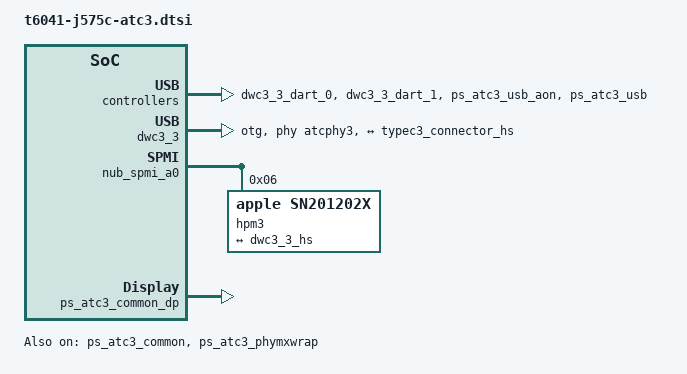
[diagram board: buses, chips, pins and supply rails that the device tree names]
// SPDX-License-Identifier: GPL-2.0+ OR MIT
/*
 * The J575c's fourth back Type-C port (ADT port-location back-left): hpm3,
 * atc-phy3, usb-drd3 and dart-usb3. On the J614c/J616c ATC3 is the HDMI
 * converter's fixed DP PHY (t604x-extdisp.dtsi); here it is a USB-C port
 * like ATC0-2, so it gets the same nodes as atcphy2/dwc3_2 in t604x.dtsi, at
 * the ADT's ATC3 addresses (ATC2's plus 0x8000000) and interrupts.
 */

/ {
	atcphy3: phy@39aa90000 {
		compatible = "apple,t6040-atcphy";
		reg = <0x3 0x9aa90000 0x0 0x4000>,
		      <0x3 0x9a800000 0x0 0x4000>,
		      <0x3 0x9aa84000 0x0 0x4000>,
		      <0x3 0x9b000000 0x0 0x30000>,
		      <0x3 0x9b200000 0x0 0x4000>,
		      <0x3 0x9b140000 0x0 0x4000>,
		      <0x3 0x9b0c0000 0x0 0x10000>,
		      <0x3 0x98000000 0x0 0x8000>,
		      <0x3 0x98020000 0x0 0x4000>,
		      <0x3 0x9b244000 0x0 0x4000>,
		      <0x3 0x9b250000 0x0 0x4000>;
		reg-names = "bank0", "bank1", "pipehandler", "core", "cfg", "cpu",
			    "cpu-data", "axi2af", "axi2af-lioa", "fabric", "common-cfg";
		#phy-cells = <1>;
		#reset-cells = <0>;
		power-domains = <&ps_atc3_common_dp>;
		mboxes = <&atcphy3_mbox>;
		mbox-names = "phy-cpu";
		nonposted-mmio;
		orientation-switch;
		apple,tunable-usb2-host = <0x8 0x7003 0x3>;
	};

	atcphy3_mbox: mailbox@39b148000 {
		compatible = "apple,t6041-asc-mailbox", "apple,asc-mailbox-v4";
		reg = <0x3 0x9b148000 0x0 0x4000>;
		interrupt-parent = <&aic>;
		interrupts = <AIC_IRQ 968 IRQ_TYPE_LEVEL_HIGH>,
			     <AIC_IRQ 969 IRQ_TYPE_LEVEL_HIGH>,
			     <AIC_IRQ 970 IRQ_TYPE_LEVEL_HIGH>,
			     <AIC_IRQ 971 IRQ_TYPE_LEVEL_HIGH>;
		interrupt-names = "send-empty", "send-not-empty",
				  "recv-empty", "recv-not-empty";
		#mbox-cells = <0>;
		power-domains = <&ps_atc3_phymxwrap>;
	};

	dwc3_3_dart_0: iommu@39af00000 {
		compatible = "apple,t6041-dart", "apple,t8110-dart";
		reg = <0x3 0x9af00000 0x0 0xc000>;
		interrupt-parent = <&aic>;
		interrupts = <AIC_IRQ 1719 IRQ_TYPE_LEVEL_HIGH>;
		power-domains = <&ps_atc3_usb>;
		#iommu-cells = <1>;
	};

	dwc3_3_dart_1: iommu@39af80000 {
		compatible = "apple,t6041-dart", "apple,t8110-dart";
		reg = <0x3 0x9af80000 0x0 0xc000>;
		interrupt-parent = <&aic>;
		interrupts = <AIC_IRQ 1719 IRQ_TYPE_LEVEL_HIGH>;
		power-domains = <&ps_atc3_usb>;
		#iommu-cells = <1>;
	};

	dwc3_3: usb@39a280000 {
		compatible = "apple,t6040-dwc3", "apple,t8103-dwc3";
		reg = <0x3 0x9a280000 0x0 0xcd00>,
		      <0x3 0x9a28cd00 0x0 0x3200>,
		      <0x3 0x9a200000 0x0 0x4000>;
		reg-names = "dwc3-core", "dwc3-apple", "drd-cfg";
		interrupt-parent = <&aic>;
		interrupts = <AIC_IRQ 1715 IRQ_TYPE_LEVEL_HIGH>;
		/* A role switch, as on ATC0-2 (see dwc3_2 in t604x.dtsi). */
		dr_mode = "otg";
		usb-role-switch;
		role-switch-default-mode = "host";
		iommus = <&dwc3_3_dart_0 0>, <&dwc3_3_dart_1 1>;
		power-domains = <&ps_atc3_usb>;
		resets = <&atcphy3>;
		phys = <&atcphy3 PHY_TYPE_USB2>;
		phy-names = "usb2-phy";
		/* ADT /arm-io/usb-drd3, the same tables as usb-drd0-2 */
		apple,tunable-gbl-host = <0x4 0x0001ef00 0x00002f00>, <0x1c 0x00000100 0x0>,
			<0x2c 0x000a07ff 0x000800c8>, <0x100 0x02000100 0x02000100>,
			<0x504 0x00001000 0x0>, <0x528 0xff0000ff 0x06000006>,
			<0x52c 0xff0000ff 0x08000008>, <0x538 0x00000800 0x00000800>,
			<0x580 0xffffffff 0x6f000006>;
		apple,tunable-cfg-host = <0x20 0xff 0x1b>;

		ports {
			#address-cells = <1>;
			#size-cells = <0>;

			port@0 {
				reg = <0>;
				dwc3_3_hs: endpoint {
					remote-endpoint = <&typec3_connector_hs>;
				};
			};
		};
	};
};

/* ADT /arm-io/nub-spmi-a0/hpm3: reg 0x6, interrupts 89/95/97 */
&nub_spmi_a0 {
	hpm3: usb-pd@6 {
		compatible = "apple,sn201202x";
		reg = <0x6 SPMI_USID>;
		interrupts = <89 IRQ_TYPE_EDGE_RISING>,
			     <91 IRQ_TYPE_EDGE_RISING>,
			     <95 IRQ_TYPE_EDGE_RISING>,
			     <97 IRQ_TYPE_EDGE_RISING>;
		interrupt-names = "irq", "select", "sleep", "wake";
		apple,event-irq-in-sleep;
		/* Retimer set up before Linux keeps SuperSpeed down until replugged. */
		apple,reset-inherited-usb2-connection;

		typec3: connector {
			compatible = "usb-c-connector";
			label = "USB-C Back 4";
			power-role = "dual";
			data-role = "dual";

			ports {
				#address-cells = <1>;
				#size-cells = <0>;

				port@0 {
					reg = <0>;
					typec3_connector_hs: endpoint {
						remote-endpoint = <&dwc3_3_hs>;
					};
				};
			};
		};
	};
};

/*
 * t604x-pmgr.dtsi leaves the ATC3 domains disabled: on the J614c/J616c the
 * display gate enables them for the HDMI chain. Here they power a USB port.
 */
&ps_atc3_common {
	status = "okay";
};

&ps_atc3_usb_aon {
	status = "okay";
};

&ps_atc3_usb {
	status = "okay";
};

&ps_atc3_phymxwrap {
	status = "okay";
};

&ps_atc3_common_dp {
	status = "okay";
};
